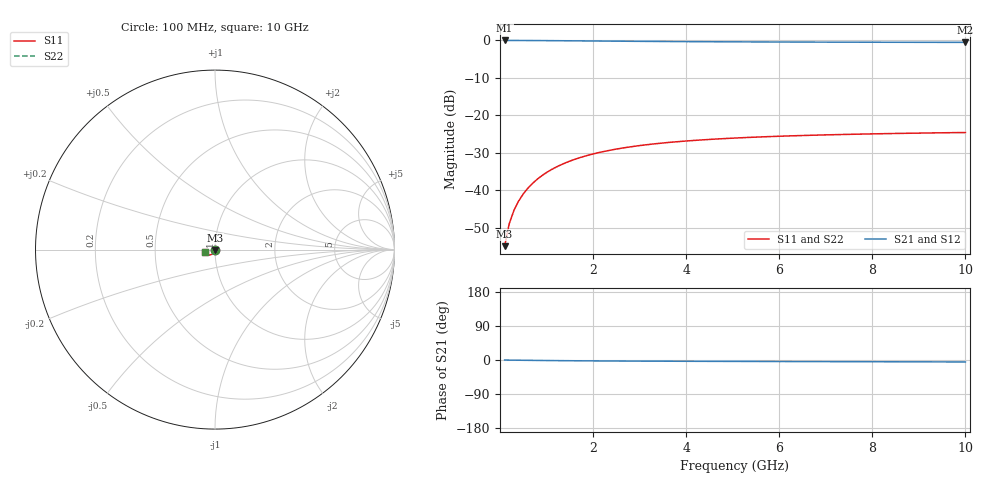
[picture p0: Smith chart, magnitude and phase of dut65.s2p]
! Touchstone file exported from HFSS 2024.1.0
!  File:  C:/UserFiles/LocalFiles/RDL_TSV_Batchsim/temp_TSV1_65_1779373395.aedt
!  Generated:  10:29:41 PM May 21, 2026
!  Design:  TSV1
!  Project:  temp_TSV1_65_1779373395
!  Setup:  Setup1
!  Solution:  Sweep
! Variables:
!  dtsv = 14.71um
!  hbump = 3um
!  htsv = 77.74um
!  lrdl = 252.1521522um
!  p = 40
!  p1 = 53.14um
!  t = 500um
!  trdl = 3um
!  wrdl = 24.89489489um
# GHz S MA R 50.000000
! Terminal data exported
! Port[1] = TSV22_T1
! Port[2] = TSV22_T2
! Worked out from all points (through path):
!   100 points, 100 MHz to 10 GHz, reference 50 ohm
!   highest |S21| = 0.00 dB at 100 MHz (marker M1); lowest = -0.5 dB at 10 GHz (marker M2)
!   lowest |S11| = -54.9 dB at 100 MHz (marker M3), VSWR 1.00, Z = 50 - j0.18 ohm
!   |S11| at or under -10 dB: start of sweep to end of sweep
!   |S22| runs from -54.9 to -24.6 dB; largest |S21 - S12| = 5.1e-15
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0.1  0.001803 -89.3  0.9999 -0.1  0.9999 -0.1  0.001803 -89.3
! Gamma 0 0 0 0
! Port Impedance 50 0 50 0
0.2  0.003605 -92.2  0.9997 -0.3  0.9997 -0.3  0.003605 -92.2
0.3  0.005403 -94.4  0.9994 -0.4  0.9994 -0.4  0.005403 -94.4
0.4  0.007189 -96.4  0.9989 -0.6  0.9989 -0.6  0.007189 -96.4
0.5  0.008955 -98.4  0.9984 -0.7  0.9984 -0.7  0.008955 -98.4
0.6  0.01069 -100.2  0.9978 -0.9  0.9978 -0.9  0.01069 -100.2
0.7  0.0124 -102.1  0.9971 -1.0  0.9971 -1.0  0.0124 -102.1
0.8  0.01407 -103.9  0.9964 -1.1  0.9964 -1.1  0.01407 -103.9
0.9  0.01571 -105.6  0.9955 -1.3  0.9955 -1.3  0.01571 -105.6
1.1  0.01884 -109.0  0.9936 -1.5  0.9936 -1.5  0.01884 -109.0
1.4  0.0232 -113.8  0.9905 -1.8  0.9905 -1.8  0.0232 -113.8
1.6  0.02586 -116.8  0.9883 -2.0  0.9883 -2.0  0.02586 -116.8
1.8  0.02833 -119.6  0.986 -2.2  0.986 -2.2  0.02833 -119.6
2.1  0.03168 -123.5  0.9826 -2.4  0.9826 -2.4  0.03168 -123.5
2.5  0.03556 -128.1  0.9782 -2.7  0.9782 -2.7  0.03556 -128.1
2.9  0.03884 -132.2  0.9741 -2.9  0.9741 -2.9  0.03884 -132.2
3.4  0.04226 -136.7  0.9695 -3.1  0.9695 -3.1  0.04226 -136.7
4.2  0.04652 -142.6  0.9633 -3.4  0.9633 -3.4  0.04652 -142.6
5.1  0.05007 -148.0  0.9578 -3.7  0.9578 -3.7  0.05007 -148.0
6.7  0.05438 -155.2  0.9508 -4.2  0.9508 -4.2  0.05438 -155.2
8.4  0.05731 -161.0  0.9458 -4.7  0.9458 -4.7  0.05731 -161.0
10  0.05917 -165.4  0.9425 -5.2  0.9425 -5.2  0.05917 -165.4
